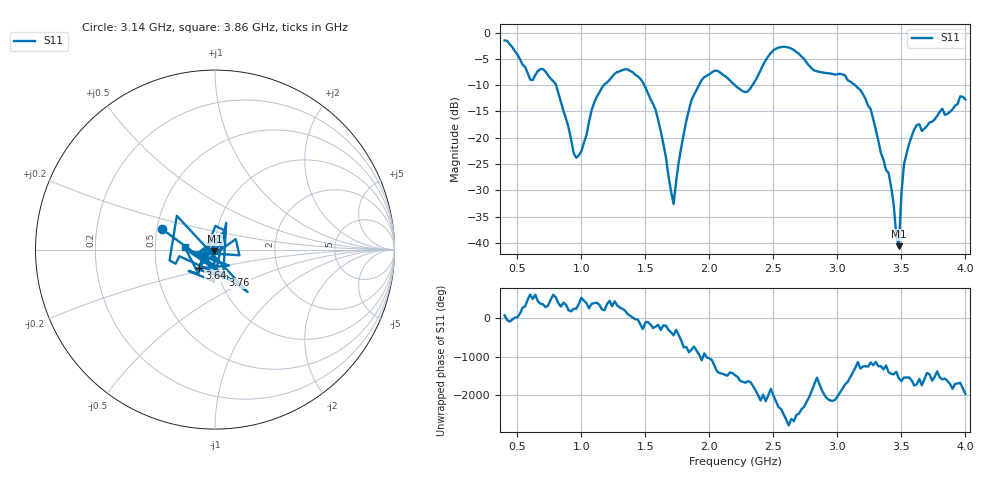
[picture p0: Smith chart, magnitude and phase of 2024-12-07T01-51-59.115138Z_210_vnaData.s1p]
!Created with skrf (http://scikit-rf.org).
# Hz S RI R 50.0
!freq ReS11 ImS11
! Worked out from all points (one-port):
!   181 points, 400 MHz to 4 GHz, reference 50 ohm
!   lowest |S11| = -40.6 dB at 3.48 GHz (marker M1), VSWR 1.02, Z = 49.6 - j0.844 ohm
!   |S11| at or under -10 dB: 802.2 MHz to 1.175 GHz (372.4 MHz wide, 37.7 % of centre); 1.492 GHz to 1.918 GHz (426.1 MHz wide, 25 % of centre); 3.139 GHz to end of sweep (the widest 3 of 4)
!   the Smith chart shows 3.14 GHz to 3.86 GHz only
!   S11 on the Smith chart (normalised r, x): 3.14 GHz: 0.53, +0.13; 3.64 GHz: 0.82, -0.17; 3.76 GHz: 1.05, -0.31; 3.86 GHz: 0.71, +0.02
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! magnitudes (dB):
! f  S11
! 400 MHz  -1.5
! 600 MHz  -8.9
! 720 MHz  -7.4
! 860 MHz  -14.9
! 960 MHz  -23.8
! 1.12 GHz  -12.2
! 1.3 GHz  -7.3
! 1.46 GHz  -8.8
! 1.58 GHz  -14.7
! 1.72 GHz  -32.6
! 1.76 GHz  -24.7
! 1.86 GHz  -12.9
! 1.94 GHz  -9.0
! 2.2 GHz  -10.0
! 2.3 GHz  -11.2
! 2.5 GHz  -3.4
! 2.66 GHz  -3.3
! 3.1 GHz  -9.3
! 3.14 GHz  -10.0
! 3.26 GHz  -14.6
! 3.4 GHz  -26.7
! 3.48 GHz  -40.6
! 3.52 GHz  -25.1
! 3.56 GHz  -21.2
! 3.64 GHz  -17.4
! 3.76 GHz  -16.5
! 3.86 GHz  -15.5
! 4 GHz  -12.7
